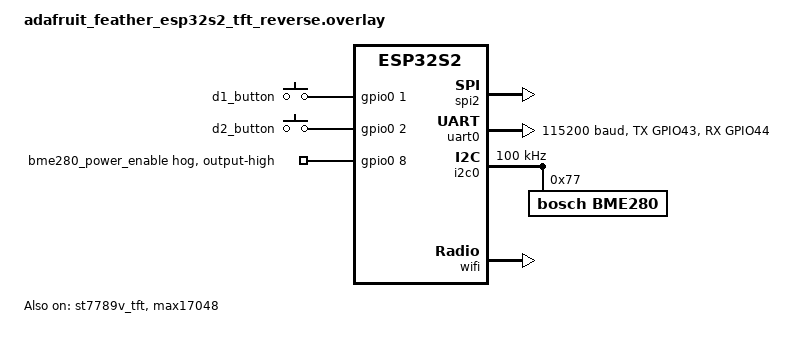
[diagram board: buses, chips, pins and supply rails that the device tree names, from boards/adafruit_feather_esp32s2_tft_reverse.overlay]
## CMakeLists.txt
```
# SPDX-License-Identifier: Apache-2.0

cmake_minimum_required(VERSION 3.20.0)

find_package(Zephyr REQUIRED HINTS $ENV{ZEPHYR_BASE})
project(WeatherSensor)

# Use simple display test (comment out for LVGL version)
# target_sources(app PRIVATE src/main_simple.cpp)

# Use LVGL version
target_sources(app PRIVATE
	src/main.cpp
	src/battery.cpp
	src/bme280.cpp
	src/display.cpp
	src/influx.cpp
	src/provisioning.cpp
	src/sntp_sync.cpp
	src/ui.cpp
	src/wifi_sta.cpp
)

target_include_directories(app PRIVATE inc)

# -fpermissive needed for Zephyr networking headers (C-style void* casts)
# when compiled as C++ code.
target_compile_options(app PRIVATE -fpermissive)
```

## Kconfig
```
# Application-specific Kconfig options for WeatherSensor

mainmenu "WeatherSensor application options"

source "Kconfig.zephyr"

menu "WeatherSensor settings"

config WEATHER_WIFI_TEST_SSID
	string "Test WiFi SSID (Step 3 only — temporary)"
	default ""
	help
	  Optional. If set, the application will try to connect to this
	  SSID at boot using the password below. Intended for bring-up
	  testing only — will be replaced by NVS-stored credentials once
	  SoftAP provisioning is implemented.

config WEATHER_WIFI_TEST_PSK
	string "Test WiFi password (Step 3 only — temporary)"
	default ""
	help
	  Password for the test SSID above. Leave empty for open networks.

config WEATHER_INFLUX_HOST
	string "InfluxDB host (LAN IP or hostname)"
	default "192.168.1.114"
	help
	  Plain HTTP InfluxDB 1.x server reachable on the local network.
	  No TLS, no auth — meant for a LAN-only deployment.

config WEATHER_INFLUX_PORT
	int "InfluxDB TCP port"
	default 8086

config WEATHER_INFLUX_DB
	string "InfluxDB database name"
	default "weather"

config WEATHER_DEVICE_ID
	string "Device identifier (used as the 'device' tag)"
	default "ws01"
	help
	  Tag attached to each Influx measurement so multiple sensors can
	  coexist in the same database without schema changes.

config WEATHER_TEMP_OFFSET_CDEG
	int "Temperature offset in centi-degrees Celsius (signed)"
	default 0
	help
	  Subtracted from each raw BME280 reading before display and
	  uplink, to compensate for residual board-conduction self-
	  heating that remains after switching to forced mode.

	  Centi-degrees C so a value of 75 means subtract 0.75 deg C.
	  Negative values add to the reading. Default 0 — measure
	  against a reference thermometer first, then dial in.

endmenu
```

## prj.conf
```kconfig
# SPDX-License-Identifier: Apache-2.0

# C++ Support
CONFIG_CPP=y
CONFIG_STD_CPP20=y
CONFIG_REQUIRES_FULL_LIBCPP=y

# GPIO for LED debugging
CONFIG_GPIO=y

# I2C bus for sensors
CONFIG_I2C=y

# Expose the I2C0 per-device pinctrl config to the application so
# sensors_read() can re-apply PINCTRL_STATE_DEFAULT after temporarily
# overriding SDA/SCL as plain GPIO outputs driven LOW (to block
# BME280 ESD-diode backfeed while its Vcc rail is cut). The DEFAULT
# reapply re-muxes the pads back to the I2C peripheral with pull-ups.
# PINCTRL_DYNAMIC selects the underlying PINCTRL_NON_STATIC symbol
# that PINCTRL_DT_DEV_CONFIG_DECLARE/_GET need (it has no user prompt).
CONFIG_PINCTRL_DYNAMIC=y

# Sensor subsystem
CONFIG_SENSOR=y
CONFIG_BME280=y

# BME280 weather-station preset (per Bosch datasheet §3.5.1):
# forced one-shot mode with 1x oversampling on all channels and the
# IIR filter off. The default normal mode self-clocks at 1 Hz with
# heavy oversampling, which heats the die enough to bias temperature
# readings up by 1-2 deg C. Forced mode lets the chip sleep between
# our minute-spaced reads.
CONFIG_BME280_MODE_FORCED=y
CONFIG_BME280_TEMP_OVER_1X=y
CONFIG_BME280_PRESS_OVER_1X=y
CONFIG_BME280_HUMIDITY_OVER_1X=y
CONFIG_BME280_FILTER_OFF=y

# Console and Logging via UART
# NOTE: ESP32-S2 does not have USB CDC support in Zephyr yet.
# Console output requires external USB-to-UART adapter connected to:
#   GPIO43 (DB pin) = UART0 TX - connects to ESP-Prog TXD0 (pin 3)
#   GPIO44 = UART0 RX - connects to ESP-Prog RXD0 (pin 5)
# IMPORTANT: GPIO1/GPIO2 are BUTTONS on Reverse board, NOT UART!
# The USB-C port only provides power and flashing.
CONFIG_UART_CONSOLE=y
CONFIG_CONSOLE=y
CONFIG_LOG=y
CONFIG_LOG_MODE_IMMEDIATE=y
CONFIG_LOG_BACKEND_UART=y
CONFIG_PRINTK=y
CONFIG_EARLY_CONSOLE=y

# Float formatting for sensor values (required for printf/snprintf with %f)
CONFIG_PICOLIBC_IO_FLOAT=y

# Display Support
CONFIG_DISPLAY=y
CONFIG_DISPLAY_LOG_LEVEL_INF=y

# Power Management - DISABLED
# Testing showed that PM subsystem causes boot crashes on this board.
# We use manual GPIO control for display power (GPIO7) and backlight (GPIO45).
# This is a known limitation - the power domain subsystem doesn't work
# reliably with the ESP32-S2 HAL in Zephyr 4.2.
# CONFIG_PM=y
# CONFIG_PM_DEVICE=y
# CONFIG_PM_DEVICE_RUNTIME=y
# CONFIG_POWER_DOMAIN=y
# CONFIG_POWER_DOMAIN_GPIO=y

# CPU clock — overridden via DT in this app's board overlay (see
# boards/adafruit_feather_esp32s2_tft_reverse.overlay /cpus/cpu@0
# clock-frequency property). Drops from upstream's 240 MHz to 160 MHz
# to cut active-current draw. The app is I/O-bound — BME280 I2C, single-
# line LVGL repaint, brief HTTP POST — and CPU-bound time per minute
# is well under a second, so the wall-clock cost is invisible.
# 160 MHz is one of the four values the Zephyr-side esp32 module
# Kconfig recognizes (96 / 120 / 160 / 240); we stay inside that set.

# Input subsystem for button handling (D0/D1/D2)
# Use threaded mode (default) — synchronous mode runs callbacks in the
# gpio-keys workqueue context, which has insufficient stack for calling
# WiFi/net_mgmt APIs.
CONFIG_INPUT=y
CONFIG_INPUT_GPIO_KEYS=y
CONFIG_INPUT_EVENT_DUMP=y
CONFIG_SYSTEM_WORKQUEUE_STACK_SIZE=4096

# Fuel gauge for battery monitoring
CONFIG_FUEL_GAUGE=y
CONFIG_MAX17048=y

# LVGL Graphics Library
CONFIG_LVGL=y
CONFIG_LV_Z_MEM_POOL_SIZE=32768
CONFIG_LV_COLOR_DEPTH_16=y
CONFIG_LV_FONT_MONTSERRAT_14=y
CONFIG_LV_FONT_MONTSERRAT_16=y
CONFIG_LV_FONT_MONTSERRAT_20=y
CONFIG_LV_FONT_MONTSERRAT_32=y

# Heap for LVGL, WiFi stack, and dynamic allocation.
# WiFi + networking stack requires ~55 KB; bumped from 32 KB to match
# Zephyr's auto-calculated minimum (and quiet the CMake warning).
CONFIG_HEAP_MEM_POOL_SIZE=65536

# Main stack size
CONFIG_MAIN_STACK_SIZE=8192

# WiFi
# We switch at runtime between STA (normal operation) and AP (provisioning).
# On ESP32-S2 (single radio) the APSTA hybrid mode doesn't broadcast the AP
# beacon reliably, so we DON'T enable CONFIG_ESP32_WIFI_AP_STA_MODE. Instead
# the driver uses pure AP mode during provisioning and switches back to STA
# afterwards.
CONFIG_WIFI=y
CONFIG_NETWORKING=y

# DHCP server for SoftAP clients (Step 6)
CONFIG_NET_IPV4=y
CONFIG_NET_DHCPV4=y
CONFIG_NET_DHCPV4_SERVER=y
CONFIG_NET_DHCPV4_SERVER_ADDR_COUNT=4

# BSD sockets for the provisioning HTTP server
CONFIG_NET_TCP=y
CONFIG_NET_SOCKETS=y
CONFIG_POSIX_API=y

# SNTP for periodic wall-clock sync after WiFi connects.
# DNS lets sntp_simple() resolve "pool.ntp.org" directly.
CONFIG_NET_UDP=y
CONFIG_SNTP=y
CONFIG_DNS_RESOLVER=y

# NVS for WiFi credential persistence (Step 2)
CONFIG_FLASH=y
CONFIG_FLASH_PAGE_LAYOUT=y
CONFIG_NVS=y

# System clock and timing
CONFIG_SYS_CLOCK_TICKS_PER_SEC=1000

# sys_reboot() — used after saving WiFi credentials via SoftAP provisioning
# so the new credentials take effect on a clean cold boot rather than via
# a fragile runtime AP→STA mode transition.
CONFIG_REBOOT=y
```

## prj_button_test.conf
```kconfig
# Minimal config for button testing
CONFIG_GPIO=y
CONFIG_LOG=y
CONFIG_LOG_MODE_IMMEDIATE=y
CONFIG_LOG_BACKEND_UART=y
CONFIG_PRINTK=y
CONFIG_UART_CONSOLE=y
CONFIG_CONSOLE=y
CONFIG_EARLY_CONSOLE=y

# Input subsystem
CONFIG_INPUT=y
CONFIG_INPUT_GPIO_KEYS=y
CONFIG_INPUT_MODE_SYNCHRONOUS=y
CONFIG_INPUT_EVENT_DUMP=y
CONFIG_INPUT_LOG_LEVEL_DBG=y

# Increase stack sizes to prevent overflow during button callbacks
CONFIG_SYSTEM_WORKQUEUE_STACK_SIZE=4096
CONFIG_MAIN_STACK_SIZE=4096
```

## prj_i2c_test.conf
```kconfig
# Minimal config for I2C diagnostic

# C++ support
CONFIG_CPP=y
CONFIG_STD_CPP20=y
CONFIG_REQUIRES_FULL_LIBCPP=y

# GPIO (for I2C power enable on GPIO7)
CONFIG_GPIO=y

# I2C
CONFIG_I2C=y

# Console/logging via UART0 (GPIO43/44 via ESP-Prog)
CONFIG_UART_CONSOLE=y
CONFIG_CONSOLE=y
CONFIG_LOG=y
CONFIG_LOG_MODE_IMMEDIATE=y
CONFIG_LOG_BACKEND_UART=y
CONFIG_PRINTK=y
CONFIG_EARLY_CONSOLE=y
```

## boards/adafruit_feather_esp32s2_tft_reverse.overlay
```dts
/*
 * Copyright (c) 2026 Lukasz Ronka
 * SPDX-License-Identifier: Apache-2.0
 *
 * Overlay for ESP32-S2 Reverse TFT Feather
 * Uses UART0 on GPIO43/44 (DB pin) for console instead of GPIO1/2
 */

/*
 * Drop CPU from 240 MHz to 160 MHz to cut active-current draw. The
 * Zephyr-side esp32 module derives CONFIG_ESP_DEFAULT_CPU_FREQ_MHZ
 * from this DT property. App is I/O-bound so the wall-clock impact
 * is negligible.
 */
&cpu0 {
	clock-frequency = <DT_FREQ_M(160)>;
};

/* Enable ST7789V TFT Display */
&st7789v_tft {
	status = "okay";
};

/* Enable SPI2 for display */
&spi2 {
	status = "okay";
};

/*
 * UART Configuration for Reverse Board:
 * GPIO43 (DB pin) = UART0 TX - connects to ESP-Prog TXD0
 * GPIO44 = UART0 RX - connects to ESP-Prog RXD0 (if needed)
 *
 * Note: GPIO1 and GPIO2 are buttons on Reverse board, not UART!
 */
&uart0 {
	status = "okay";
	current-speed = <115200>;
	pinctrl-0 = <&uart0_default>;
	pinctrl-names = "default";
};

/* Override console to use UART0 instead of UART1 */
/ {
	chosen {
		zephyr,console = &uart0;
		zephyr,shell-uart = &uart0;
	};
};

/* Configure UART0 pins */
&pinctrl {
	uart0_default: uart0_default {
		group1 {
			pinmux = <UART0_TX_GPIO43>;
			output-high;
		};
		group2 {
			pinmux = <UART0_RX_GPIO44>;
			bias-pull-up;
		};
	};

	/* Override I2C0 pins to enable internal pull-ups */
	i2c0_default: i2c0_default {
		group1 {
			pinmux = <I2C0_SDA_GPIO3>,
				 <I2C0_SCL_GPIO4>;
			drive-open-drain;
			bias-pull-up;  /* Enable internal pull-up resistors */
		};
	};
};

/* Enable I2C for sensor support */
&i2c0 {
	status = "okay";
	clock-frequency = <I2C_BITRATE_STANDARD>;

	/* BME280: Temperature/Humidity/Pressure at I2C address 0x77 */
	bme280@77 {
		compatible = "bosch,bme280";
		reg = <0x77>;
		status = "okay";
	};
};

/* Enable MAX17048 fuel gauge for battery monitoring */
&max17048 {
	status = "okay";
};

/* Enable WiFi driver (Step 1) */
&wifi {
	status = "okay";
};

/*
 * Fix D1/D2 button polarity.
 * The upstream Zephyr board DTS incorrectly defines D1/D2 as GPIO_PULL_UP | GPIO_ACTIVE_LOW,
 * but per Adafruit docs these buttons are pulled LOW by default and go HIGH when pressed.
 * See: https://learn.adafruit.com/esp32-s2-reverse-tft-feather/pinouts
 */
/ {
	gpio_keys {
		/* 100 ms filter at the gpio-keys driver level. Still below the
		 * ~150 ms human-press threshold so real presses pass through
		 * unnoticeably late, but doubled from the original 50 ms after
		 * a second phantom D2 press slipped through. The app also
		 * applies an additional 80 ms hold filter — see button_input_cb. */
		debounce-interval-ms = <100>;

		d1_button: d1_button {
			gpios = <&gpio0 1 GPIO_ACTIVE_HIGH>;
		};
		d2_button: d2_button {
			gpios = <&gpio0 2 GPIO_ACTIVE_HIGH>;
		};
	};
};

/*
 * Power the external BME280 module's Vcc from GPIO8 (silk: A5).
 * Hogged HIGH at boot so the Zephyr BME280 driver's POST_KERNEL init —
 * which talks to the chip over I2C to read calibration coefficients —
 * sees a powered sensor. Once boot is done, the application toggles
 * this pin per-read in sensors_read() to keep the chip cold between
 * minute-spaced samples.
 */
&gpio0 {
	bme280_power_enable {
		gpio-hog;
		gpios = <8 GPIO_ACTIVE_HIGH>;
		output-high;
	};
};
```

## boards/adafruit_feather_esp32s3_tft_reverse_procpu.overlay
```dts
/*
 * Copyright (c) 2026 Lukasz Ronka
 * SPDX-License-Identifier: Apache-2.0
 *
 * Overlay for ESP32-S3 Reverse TFT Feather.
 *
 * Mirrors the ESP32-S2 overlay with these differences:
 *   - Console stays on USB-CDC (upstream default — &usb_serial). No
 *     ESP-Prog needed; logs come out the USB-C port.
 *   - Three buttons (button0/1/2) instead of two (d1/d2). The upstream
 *     DTS sets all three to GPIO_PULL_UP | GPIO_ACTIVE_LOW, but the
 *     Reverse-line hardware actually wires them the opposite way (pulled
 *     LOW, go HIGH on press) — same as on -S2.
 *   - MAX17048 is enabled in the board DTS by default; we don't need
 *     to repeat the override here.
 *   - i2c_reg power domain is already declared in the board DTS for
 *     STEMMA + display Vcc, but PM is disabled in prj.conf so the
 *     power-domain-gpio driver isn't actually doing anything. Our
 *     display.cpp toggles GPIO7 by hand.
 *
 * Everything I2C-side (GPIO3/4 SDA/SCL, internal pull-up override,
 * BME280 child node) and the GPIO8 hog for the external BME280 Vcc
 * transfer verbatim from -S2.
 */

/*
 * Drop CPU from 240 MHz to 160 MHz. ESP32-S3 supports the same set of
 * CPU frequencies as -S2 (240 / 160 / 80 / 40 / 2 MHz); the Zephyr-side
 * esp32 module Kconfig recognizes 96 / 120 / 160 / 240 so 160 is the
 * floor that doesn't trip the clock-tick scaling math.
 */
&cpu0 {
	clock-frequency = <DT_FREQ_M(160)>;
};

/* Enable ST7789V TFT Display (upstream leaves it status = "disabled") */
&st7789v_tft {
	status = "okay";
};

/*
 * Override console from &usb_serial → &uart0 so ESP-Prog (wired to
 * GPIO43/44 = DB pin, same as -S2) captures every log line from the
 * very first Zephyr boot message. USB-SERIAL-JTAG works but enumerates
 * a few hundred ms after firmware starts — early panics get lost.
 *
 * UART0 on -S3 uses GPIO43/44 same as -S2, so the ESP-Prog wiring is
 * identical between boards. Trade-off: the USB-C native console goes
 * silent (you can flip the priority by reverting this block).
 */
/ {
	chosen {
		zephyr,console = &uart0;
		zephyr,shell-uart = &uart0;
	};
};

/* Override I2C0 pinctrl to enable internal pull-ups (matches -S2 — the
 * upstream pinctrl declares drive-open-drain + output-high but no
 * bias-pull-up, and the BME280 module relies on these pulls). */
&pinctrl {
	i2c0_default: i2c0_default {
		group1 {
			pinmux = <I2C0_SDA_GPIO3>,
				 <I2C0_SCL_GPIO4>;
			drive-open-drain;
			bias-pull-up;
		};
	};
};

/* Add the BME280 child to the upstream-enabled I2C0 node. */
&i2c0 {
	bme280@77 {
		compatible = "bosch,bme280";
		reg = <0x77>;
		status = "okay";
	};
};

/* Enable WiFi driver (still WiFi+Influx in Phase 2 — BLE swap is Phase 3). */
&wifi {
	status = "okay";
};

/*
 * Fix button polarity on D1 and D2. The Reverse-line hardware wires
 * D1 (GPIO1) and D2 (GPIO2) so they're pulled LOW by default and go
 * HIGH on press, which is opposite to the upstream DTS's
 * GPIO_PULL_UP | GPIO_ACTIVE_LOW. Same fix as -S2.
 *
 * D0 is different: GPIO0 is the ESP32-S3 chip's boot-mode strap pin
 * with an external pull-up that the bootloader relies on. The
 * D0 user-button hangs off that strap, so it really IS pulled HIGH
 * by default and goes LOW when pressed — the upstream
 * GPIO_PULL_UP | GPIO_ACTIVE_LOW is correct for D0. Don't override.
 *
 * Also override zephyr,code on D2 from INPUT_KEY_2 → INPUT_KEY_3 so
 * the application's switch (originally written against -S2's
 * upstream code mapping where D2 = INPUT_KEY_3) sees the same codes
 * on both boards.
 *
 * 100 ms debounce at the gpio-keys driver level — matches -S2's
 * "second phantom press slipped through after 50 ms" tuning. The app
 * adds another 80 ms hold filter in button_input_cb on top.
 */
/ {
	gpio_keys {
		debounce-interval-ms = <100>;

		button1: button_1 {
			gpios = <&gpio0 1 GPIO_ACTIVE_HIGH>;
		};
		button2: button_2 {
			gpios = <&gpio0 2 GPIO_ACTIVE_HIGH>;
			zephyr,code = <INPUT_KEY_3>;
		};
	};
};

/*
 * Power the external BME280 module's Vcc from GPIO8 (silk: A5).
 * Hogged HIGH at boot so the Zephyr BME280 driver's POST_KERNEL init
 * sees a powered sensor. Once boot is done, the application toggles
 * this pin per-read in sensors_read() to keep the chip cold between
 * minute-spaced samples — same dance as -S2.
 */
&gpio0 {
	bme280_power_enable {
		gpio-hog;
		gpios = <8 GPIO_ACTIVE_HIGH>;
		output-high;
	};
};
```

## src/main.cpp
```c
/*
 * Copyright (c) 2026 Lukasz Ronka
 * SPDX-License-Identifier: Apache-2.0
 */

#include <zephyr/kernel.h>
#include <zephyr/logging/log.h>
#include <zephyr/sys/reboot.h>

#include <stdint.h>
#include <stdlib.h>
#include <string.h>
#include <time.h>

#include "battery.h"
#include "bme280.h"
#include "display.h"
#include "influx.h"
#include "provisioning.h"
#include "sntp_sync.h"
#include "ui.h"
#include "wifi_sta.h"

LOG_MODULE_REGISTER(weather_sensor, LOG_LEVEL_INF);

static uint32_t seconds_counter = 0;

/* Piggy-back hook for bme280_read: refresh the battery state-of-charge
 * and its status-bar symbol while the I2C0 bus is still alive. Keeps
 * the MAX17048 off the bus during the windows when bme280_read parks
 * SDA/SCL low. */
static void refresh_battery(void)
{
	battery_read();
	ui_update_battery(battery_get_soc());
}

/* Returns true at most once per wall-clock minute, on the boundary.
 *
 * After SNTP has set the clock we use tm_min from local time; before
 * that we fall back to an uptime-minute boundary so the display is
 * never frozen. Accepts tm_sec == 0 or 1 to absorb scheduler jitter
 * from the 1 s main-loop tick; the last-minute dedupe ensures only
 * one fire per minute regardless. */
static bool minute_boundary_fired(void)
{
	static int last_minute_fired = -1;
	int minute_now;

	if (sntp_is_synced()) {
		struct timespec ts;
		struct tm local;
		clock_gettime(CLOCK_REALTIME, &ts);
		localtime_r(&ts.tv_sec, &local);
		if (local.tm_sec > 1) {
			return false;
		}
		minute_now = local.tm_min;
	} else {
		uint32_t up_s = (uint32_t)(k_uptime_get() / 1000);
		if (up_s % 60 != 0) {
			return false;
		}
		minute_now = (int)((up_s / 60) % 60);
	}

	if (minute_now == last_minute_fired) {
		return false;
	}
	last_minute_fired = minute_now;
	return true;
}

int main(void)
{
	int ret;

	LOG_INF("WeatherSensor starting...");
	LOG_INF("Board: %s", CONFIG_BOARD);

	/* Pin local time to Europe/Warsaw with DST. POSIX TZ string:
	 *   CET-1CEST,M3.5.0,M10.5.0/3
	 * = standard CET (UTC+1), DST CEST (UTC+2), spring-forward last
	 * Sunday of March, fall-back last Sunday of October at 03:00.
	 * After this, picolibc's localtime_r() handles DST automatically. */
	setenv("TZ", "CET-1CEST,M3.5.0,M10.5.0/3", 1);
	tzset();

	/* CRITICAL INITIALIZATION SEQUENCE:
	 * 1. Enable display power (GPIO7) first
	 * 2. Wait for power rail to stabilize
	 * 3. Initialize display device
	 * 4. Enable backlight (GPIO45)
	 */
	ret = display_power_init();
	if (ret < 0) {
		LOG_ERR("Failed to initialize display power: %d", ret);
		return ret;
	}

	ret = display_init();
	if (ret < 0) {
		LOG_ERR("Failed to initialize display: %d", ret);
		return ret;
	}

	ret = backlight_init();
	if (ret < 0) {
		LOG_WRN("Backlight init failed (non-fatal): %d", ret);
	}

	/* Initialize sensors */
	LOG_INF("");
	LOG_INF("========================================");
	ret = bme280_init();
	static bool sensors_ok = false;
	sensors_ok = (ret == 0);
	if (!sensors_ok) {
		LOG_ERR("Sensor initialization failed: %d", ret);
		LOG_ERR("Continuing without sensors...");
	}
	LOG_INF("========================================");
	LOG_INF("");

	/* Hand the BME280 Vcc pin from boot-time gpio-hog control to
	 * runtime control. bme280_read now owns it and toggles it per
	 * minute-tick. */
	bme280_pin_release_to_runtime();

	/* Initialize fuel gauge (after display power, since GPIO7 powers I2C bus) */
	ret = battery_init();
	if (ret < 0) {
		LOG_WRN("Fuel gauge not available - using mocked battery");
	}

	/* Initialize LVGL multi-screen UI */
	ui_init();

	/* Initial sensor read if sensors available. Piggy-back the
	 * battery poll so it gets the I2C bus while it's still up. */
	if (sensors_ok) {
		LOG_INF("Performing initial sensor read...");
		bme280_read(refresh_battery);
		ui_update_sensor_display();
	} else {
		/* No BME280 — battery still wants to be read. The bus is
		 * idle (no park-low cycle without bme280_read), so it's
		 * safe to talk to MAX17048 directly. */
		refresh_battery();
	}

	/* Drop the display dark by default. The chip / LVGL got fully
	 * bootstrapped above so the screen is correctly populated;
	 * display_sleep just cuts backlight + GPIO7. Any button press
	 * wakes it for 30 s via ui's input handler. */
	display_sleep();

	/* Mount NVS + register net_mgmt callback, then try to connect.
	 * Priority: stored NVS credentials > Kconfig test credentials.
	 * If Kconfig credentials connect successfully, they're saved to NVS
	 * for next boot — so the next reflash won't need the Kconfig override. */
	if (wifi_sta_init() == 0) {
		char ssid[33] = {};
		char psk[65] = {};
		if (wifi_load_credentials(ssid, sizeof(ssid), psk, sizeof(psk))) {
			wifi_connect(ssid, psk);
		} else if (strlen(CONFIG_WEATHER_WIFI_TEST_SSID) > 0) {
			LOG_INF("Using Kconfig test credentials for WiFi");
			wifi_arm_pending_save(CONFIG_WEATHER_WIFI_TEST_SSID,
					      CONFIG_WEATHER_WIFI_TEST_PSK);
			wifi_connect(CONFIG_WEATHER_WIFI_TEST_SSID,
				     CONFIG_WEATHER_WIFI_TEST_PSK);
		} else {
			LOG_INF("No WiFi credentials stored — provisioning needed");
		}
	}

	LOG_INF("Initialization complete. Entering main loop...");

	while (1) {
		/* Screen navigation from button presses. Module handles the
		 * LVGL screen swap internally; we ignore the return. */
		(void)ui_take_pending_navigate();

		/* Handle pending provisioning request from D1 */
		if (provisioning_take_pending_request()) {
			provisioning_start();
		}

		/* After AP_ENABLE_RESULT fires: assign IP and start DHCP */
		if (wifi_take_pending_ap_setup()) {
			provisioning_configure_ap_network();
		}

		/* Credentials received via HTTP form: persist to NVS and
		 * reboot. The new credentials take effect on the clean cold
		 * boot, avoiding fragile runtime AP→STA driver transitions. */
		char apply_ssid[33];
		char apply_psk[65];
		if (provisioning_take_pending_reboot(apply_ssid, sizeof(apply_ssid),
						     apply_psk, sizeof(apply_psk))) {
			LOG_INF("Saving credentials and rebooting (SSID: %s)",
				apply_ssid);
			wifi_save_credentials(apply_ssid, apply_psk);
			/* Let the HTTP response flush to the browser. */
			k_msleep(1000);
			sys_reboot(SYS_REBOOT_COLD);
			/* unreachable */
		}

		/* WiFi status-bar icon repaint */
		if (wifi_take_pending_icon_update()) {
			ui_update_wifi_icon(wifi_is_connected());
		}

		/* Enable WiFi modem-sleep after the connect event lands. The
		 * event handler can't issue net_mgmt requests itself, so the
		 * flag is set there and the actual call happens here. */
		if (wifi_take_pending_ps_enable()) {
			wifi_enable_power_save();
		}

		/* New SNTP drift sample arrived — repaint the drift screen.
		 * Cheap; LVGL only redraws the active screen. */
		if (sntp_take_pending_drift_update()) {
			ui_update_drift_display();
		}

		/* SNTP wall-clock sync: first sync as soon as WiFi is up,
		 * then every hour after a successful sync. sntp_sync_now()
		 * blocks for up to a few seconds — fine at this cadence. */
		if (sntp_take_pending_initial_sync()) {
			sntp_sync_now();
		} else if (wifi_is_connected() && sntp_should_resync()) {
			sntp_sync_now();
		}

		/* Once per minute, aligned to the wall-clock minute start
		 * (or the uptime-minute start before SNTP has synced). One
		 * trigger keeps the sensor read and the visible HH:MM
		 * transition phase-locked. */
		if (minute_boundary_fired()) {
			ui_update_time_display();
			if (sensors_ok) {
				LOG_INF("======== PERIODIC SENSOR READ (t=%us) ========",
					seconds_counter);
				/* Piggy-back the battery read inside the
				 * bme280 bus-up window so it doesn't try to
				 * talk to MAX17048 while SDA/SCL are parked. */
				bme280_read(refresh_battery);
				ui_update_sensor_display();
				/* Queue this reading for the InfluxDB uplink.
				 * Only when SNTP has set the wall clock — every
				 * row carries a real timestamp, no server-side
				 * "receive time" mess. */
				if (sntp_is_synced()) {
					influx_capture_sample();
				}
			}
		}

		/* Drain pending Influx samples — cheap when the buffer is
		 * empty, retries from the oldest unsent reading on failure. */
		influx_drain(wifi_is_connected());

		/* Log status every 30 seconds */
		if (seconds_counter % 30 == 0) {
			LOG_INF("System running. Uptime: %u seconds, Screen: %d",
				seconds_counter, ui_current_screen());
		}

		/* Process LVGL tasks */
		ui_tick();

		/* Sleep for 1 second */
		k_msleep(1000);
		seconds_counter++;
		sntp_tick();
	}

	return 0;
}
```

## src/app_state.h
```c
/*
 * Copyright (c) 2026 Lukasz Ronka
 * SPDX-License-Identifier: Apache-2.0
 *
 * Shared application state.
 *
 * Cross-module data the orchestrator hands around. Each module owns
 * its own hardware handles and module-private bookkeeping as file-
 * scope statics; only state that's *actually* read or written across
 * module boundaries lives here.
 *
 * Single source of truth: main.cpp owns one `static app_state_t g_app`
 * and passes a pointer into module init/tick calls that need it.
 */

#ifndef WEATHER_SENSOR_APP_STATE_H_
#define WEATHER_SENSOR_APP_STATE_H_

#include <stdbool.h>
#include <stdint.h>
#include <time.h>

#define DRIFT_HISTORY_SIZE 8

#ifdef __cplusplus
extern "C" {
#endif

/* ------------------------------------------------------------------ */
/* Sensor snapshot                                                    */
/* ------------------------------------------------------------------ */

/* Latest readings written by bme280_read() and battery_read(), read by
 * ui_update_* and influx_capture_sample. The temperature value here is
 * already offset-corrected (CONFIG_WEATHER_TEMP_OFFSET_CDEG applied);
 * raw chip output stays inside bme280.cpp. */
typedef struct {
	float   temperature;       /* deg C, after CDEG offset */
	float   humidity;          /* %RH */
	float   pressure;          /* hPa */
	uint8_t battery_soc;       /* state of charge, 0-100. Valid iff
	                              battery_available is true. */
	bool    battery_available; /* fuel gauge responded at last read */
} sensor_data_t;

/* ------------------------------------------------------------------ */
/* WiFi station / provisioning state                                  */
/* ------------------------------------------------------------------ */

/* connected: set/cleared by wifi_mgmt_event_handler.
 * pending_initial_sync: raised on first connect, consumed by main loop
 *     to kick the very first SNTP fetch.
 * pending_save_credentials + pending_save_ssid/psk: handoff from the
 *     provisioning HTTP thread to the main loop, which performs the
 *     NVS write (the HTTP thread's stack can't take a flash op).
 * pending_ap_network_setup: raised by provisioning_start so the main
 *     loop can configure the AP's IPv4 address + DHCP pool (net_mgmt
 *     calls must not run in a network event callback). */
typedef struct {
	bool connected;
	bool pending_initial_sync;
	bool pending_save_credentials;
	char pending_save_ssid[33];
	char pending_save_psk[65];
	bool pending_ap_network_setup;
} wifi_state_t;

/* ------------------------------------------------------------------ */
/* Time / SNTP drift state                                            */
/* ------------------------------------------------------------------ */

typedef struct {
	int64_t  drift_ms;     /* signed: corrected - pre-correction */
	uint32_t interval_s;   /* seconds since the previous sync */
	struct   tm local_tm;  /* local wall clock at sync moment */
	bool     valid;        /* false slots are skipped on render */
} drift_entry_t;

/* synced: set true on the first successful sntp_sync_time call.
 * seconds_since_last_sync: incremented by the main loop's 1 Hz tick.
 * pending_initial_sync: WiFi event raises this; main loop consumes.
 * history / head: ring buffer of recent drifts (drift_history_size
 *     entries) for the drift screen.
 * pending_drift_screen_update: raised when a new drift sample lands,
 *     consumed by the UI redraw. */
typedef struct {
	bool          synced;
	uint32_t      seconds_since_last_sync;
	bool          pending_initial_sync;
	drift_entry_t history[DRIFT_HISTORY_SIZE];
	int           head;
	bool          pending_drift_screen_update;
} time_state_t;

/* ------------------------------------------------------------------ */
/* Aggregate                                                          */
/* ------------------------------------------------------------------ */

typedef struct {
	sensor_data_t sensors;
	wifi_state_t  wifi;
	time_state_t  time;
} app_state_t;

#ifdef __cplusplus
}
#endif

#endif /* WEATHER_SENSOR_APP_STATE_H_ */
```

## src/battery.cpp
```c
/*
 * Copyright (c) 2026 Lukasz Ronka
 * SPDX-License-Identifier: Apache-2.0
 */

#include "battery.h"

#include <zephyr/device.h>
#include <zephyr/drivers/fuel_gauge.h>
#include <zephyr/logging/log.h>

LOG_MODULE_REGISTER(battery, LOG_LEVEL_INF);

static const struct device *fuel_gauge_dev;
static bool battery_available = false;
static uint8_t battery_soc = 100; /* State of charge %, mocked at 100% */

int battery_init(void)
{
	fuel_gauge_dev = DEVICE_DT_GET_ONE(maxim_max17048);

	if (!device_is_ready(fuel_gauge_dev)) {
		LOG_WRN("MAX17048: not ready (will use mocked battery)");
		battery_available = false;
		return -ENODEV;
	}

	LOG_INF("MAX17048: Device ready - %s", fuel_gauge_dev->name);
	battery_available = true;
	return 0;
}

void battery_read(void)
{
	if (!battery_available) {
		return;
	}

	union fuel_gauge_prop_val val;
	int ret = fuel_gauge_get_prop(fuel_gauge_dev,
				      FUEL_GAUGE_RELATIVE_STATE_OF_CHARGE, &val);
	if (ret < 0) {
		LOG_WRN("Failed to read battery SOC: %d", ret);
		return;
	}

	battery_soc = val.relative_state_of_charge;
	LOG_INF("Battery SOC: %u%%", battery_soc);
}

bool battery_is_available(void)
{
	return battery_available;
}

uint8_t battery_get_soc(void)
{
	return battery_soc;
}
```

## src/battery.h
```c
/*
 * Copyright (c) 2026 Lukasz Ronka
 * SPDX-License-Identifier: Apache-2.0
 *
 * MAX17048 fuel gauge driver wrapper.
 *
 * Owns the device handle and the last-known state-of-charge. Non-fatal
 * if the chip isn't present: battery_is_available() returns false and
 * the rest of the system continues with no battery telemetry.
 *
 * battery_init() must run after the display power rail is up (the fuel
 * gauge shares the GPIO7-gated 3V3 line on this board).
 */

#ifndef WEATHER_SENSOR_BATTERY_H_
#define WEATHER_SENSOR_BATTERY_H_

#include <stdbool.h>
#include <stdint.h>

#ifdef __cplusplus
extern "C" {
#endif

/* Probe the fuel gauge and stash the device handle. Returns 0 if the
 * chip is ready, -ENODEV otherwise (logged at WARN, never fatal). */
int battery_init(void);

/* Read state-of-charge from the chip and cache it. No-op if the gauge
 * is unavailable. Logs the new value at INFO. */
void battery_read(void);

/* True once battery_init succeeded. Influx capture branches on this to
 * record -1 when no gauge was found. */
bool battery_is_available(void);

/* Last value cached by battery_read. Returns the mocked default
 * (100 %) until the first successful read. */
uint8_t battery_get_soc(void);

#ifdef __cplusplus
}
#endif

#endif /* WEATHER_SENSOR_BATTERY_H_ */
```

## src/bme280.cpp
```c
/*
 * Copyright (c) 2026 Lukasz Ronka
 * SPDX-License-Identifier: Apache-2.0
 */

#include "bme280.h"

#include <zephyr/device.h>
#include <zephyr/drivers/gpio.h>
#include <zephyr/drivers/i2c.h>
#include <zephyr/drivers/pinctrl.h>
#include <zephyr/drivers/sensor.h>
#include <zephyr/kernel.h>
#include <zephyr/logging/log.h>

LOG_MODULE_REGISTER(bme280, LOG_LEVEL_INF);

/* BME280 module Vcc — switched per-read to eliminate residual self-heating.
 * Wired off-board: external DFRobot Gravity module's +V lead moved from the
 * always-on 3V3 rail to the Feather's A5 pin (silk label A5 = ESP32-S2 GPIO8,
 * port 0). ~12 mA source budget, BME280 peak < 1 mA, so direct GPIO drive
 * is fine without a load switch. */
static const struct gpio_dt_spec bme280_power = {
	.port = DEVICE_DT_GET(DT_NODELABEL(gpio0)),
	.pin = 8,
	.dt_flags = GPIO_ACTIVE_HIGH,
};

/* I2C0 SDA/SCL pads (GPIO3 / GPIO4 on this board). Between minute-spaced
 * reads we re-purpose them as plain GPIO outputs pinned LOW so the BME280's
 * SDA/SCL→Vcc ESD clamp diodes cannot conduct from the bus into its
 * de-powered analog front-end. The first sensor_read() bring-up then calls
 * pinctrl_apply_state(DEFAULT) to mux them back to the I2C peripheral.
 *
 * Doing this through the GPIO API (rather than a pinctrl sleep state) is
 * deliberate: the ESP32 pinctrl driver rejects any pin entry whose pinmux
 * carries neither an input nor output signal (-ENOTSUP), and reusing the
 * I2C signal IDs in a sleep group leaves the matrix routing the bus to
 * the I2C controller, which overrides the GPIO output level. */
static const struct gpio_dt_spec i2c0_sda = {
	.port = DEVICE_DT_GET(DT_NODELABEL(gpio0)),
	.pin = 3,
	.dt_flags = GPIO_ACTIVE_HIGH,
};
static const struct gpio_dt_spec i2c0_scl = {
	.port = DEVICE_DT_GET(DT_NODELABEL(gpio0)),
	.pin = 4,
	.dt_flags = GPIO_ACTIVE_HIGH,
};

/* I2C0 pinctrl handle — used to mux SDA/SCL back to the I2C peripheral
 * after the GPIO sleep state. Requires CONFIG_PINCTRL_DYNAMIC=y (which
 * selects PINCTRL_NON_STATIC) so the I2C driver's per-instance pinctrl
 * config is reachable from application code. */
PINCTRL_DT_DEV_CONFIG_DECLARE(DT_NODELABEL(i2c0));
static const struct pinctrl_dev_config *i2c0_pinctrl =
	PINCTRL_DT_DEV_CONFIG_GET(DT_NODELABEL(i2c0));

static const struct device *bme280;

/* I2C bus the BME280 sits on — cached so bme280_read() can re-write the
 * chip's CTRL_HUM register after each power-on (the chip loses all config
 * registers when we cut Vcc, and the upstream Zephyr driver doesn't expose
 * a hook to re-init humidity oversampling per-fetch). */
static const struct device *i2c_dev;

static float temperature = 0.0f;
static float humidity = 0.0f;
static float pressure = 0.0f;

int bme280_init(void)
{
	LOG_INF("=== SENSOR INITIALIZATION START ===");

	/* I2C bus reference — used in bme280_read() to re-arm CTRL_HUM
	 * after each Vcc cycle (see comment on i2c_dev declaration). */
	i2c_dev = DEVICE_DT_GET(DT_NODELABEL(i2c0));
	if (!device_is_ready(i2c_dev)) {
		LOG_ERR("I2C0: Device not ready!");
		return -ENODEV;
	}

	/* BME280 initialization */
	LOG_INF("Looking up BME280 device...");
	bme280 = DEVICE_DT_GET_ONE(bosch_bme280);

	if (!device_is_ready(bme280)) {
		LOG_ERR("BME280: Device not ready!");
		return -ENODEV;
	}
	LOG_INF("BME280: Device ready - %s", bme280->name);

	LOG_INF("=== SENSOR INITIALIZATION COMPLETE ===");
	return 0;
}

void bme280_pin_release_to_runtime(void)
{
	/* BME280 module Vcc (GPIO8 / A5) was hogged HIGH in the DTS overlay
	 * so the driver's POST_KERNEL chip-init could talk to the sensor.
	 * Switch the pin to runtime control and drive it low — from now on
	 * bme280_read() owns the pin and power-cycles it per minute-tick. */
	gpio_pin_configure_dt(&bme280_power, GPIO_OUTPUT_INACTIVE);
}

int bme280_read(void (*while_bus_up)(void))
{
	struct sensor_value val;
	int ret;

	LOG_INF("=== SENSOR READ START ===");

	/* Power the BME280 module's Vcc rail. Datasheet specifies ~2 ms
	 * start-up time; 5 ms gives margin for the module's onboard parts
	 * (the DFRobot Gravity adds a 3V3 LDO between our GPIO and the
	 * chip). The chip lost all config registers while Vcc was off and
	 * comes up in sleep mode with everything zeroed.
	 *
	 * Order matters: bring Vcc up BEFORE re-muxing SDA/SCL to the I2C
	 * peripheral. Once the chip is at 3.3 V its ESD clamps are inert,
	 * so engaging the bus signals (and their pull-ups) is clean. */
	gpio_pin_set_dt(&bme280_power, 1);
	k_msleep(5);
	ret = pinctrl_apply_state(i2c0_pinctrl, PINCTRL_STATE_DEFAULT);
	if (ret < 0) {
		LOG_WRN("BME280: pinctrl default apply failed: %d", ret);
	}

	/* Reset the I2C controller's FSM. While SDA/SCL were pinned LOW
	 * the peripheral saw "bus busy / mid-transfer" and latches that
	 * state internally. i2c_recover_bus drives 9 clock pulses + STOP
	 * and re-initialises the controller, so the next transfer doesn't
	 * fail with -EBUSY at the i2c_ll_is_bus_busy() check. */
	ret = i2c_recover_bus(i2c_dev);
	if (ret < 0) {
		LOG_WRN("BME280: i2c_recover_bus failed: %d", ret);
	}

	/* Re-arm humidity oversampling. The upstream driver writes
	 * CTRL_HUM (0xF2) only at init; in forced mode sample_fetch
	 * touches CTRL_MEAS but not CTRL_HUM. After our Vcc cycle the
	 * chip's CTRL_HUM has reverted to 0 (humidity disabled), so we
	 * write 0x01 (oversampling x1) directly via the I2C API. */
	ret = i2c_reg_write_byte(i2c_dev, 0x77, 0xF2, 0x01);
	if (ret < 0) {
		LOG_WRN("BME280: CTRL_HUM re-arm failed: %d", ret);
	}

	/* Read BME280 */
	LOG_INF("BME280: Fetching sample...");
	ret = sensor_sample_fetch(bme280);
	if (ret < 0) {
		LOG_ERR("BME280: sample_fetch failed: %d", ret);
	} else {
		LOG_INF("BME280: Sample fetch OK");

		sensor_channel_get(bme280, SENSOR_CHAN_AMBIENT_TEMP, &val);
		/* Subtract the build-time offset (centi-deg C) to compensate
		 * for residual board-conduction self-heating left over after
		 * switching the BME280 to forced mode. */
		temperature = sensor_value_to_float(&val)
			- (float)CONFIG_WEATHER_TEMP_OFFSET_CDEG / 100.0f;
		LOG_INF("BME280: Temperature = %.2f\xC2\xB0""C (val1=%d val2=%d)",
			(double)temperature, val.val1, val.val2);

		sensor_channel_get(bme280, SENSOR_CHAN_HUMIDITY, &val);
		humidity = sensor_value_to_float(&val);
		LOG_INF("BME280: Humidity = %.2f%% (val1=%d val2=%d)",
			(double)humidity, val.val1, val.val2);

		sensor_channel_get(bme280, SENSOR_CHAN_PRESS, &val);
		pressure = sensor_value_to_float(&val) * 10.0f;  /* kPa to hPa */
		LOG_INF("BME280: Pressure = %.2f hPa (val1=%d val2=%d)",
			(double)pressure, val.val1, val.val2);
	}

	/* Piggy-back any other I2C0 traffic the caller wants to do while
	 * the bus is still alive (typically the fuel-gauge poll). Runs
	 * even on sample_fetch failure — those failures are confined to
	 * the BME280 chip, the bus itself is fine. */
	if (while_bus_up) {
		while_bus_up();
	}

	/* Park SDA/SCL at GND first, then cut Vcc. With Vcc still applied,
	 * dragging the bus lines low is at worst a malformed I2C condition
	 * the chip ignores. With the lines pinned LOW, removing Vcc leaves
	 * no path through the chip's SDA/SCL→Vcc ESD clamps, so the analog
	 * front-end can't be back-powered. Reversing the order would let
	 * the bus pull-ups keep the chip warm via diode conduction — the
	 * exact failure mode this change exists to kill.
	 *
	 * GPIO_OUTPUT_LOW reconfigures the pad as a push-pull output and
	 * latches it at 0. This re-routes the GPIO matrix away from the
	 * I2C peripheral (esp32_gpio driver calls esp_rom_gpio_matrix_out
	 * with SIG_GPIO_OUT_IDX), and the pad's internal pull-up is
	 * implicitly disabled by the GPIO_OUTPUT_LOW flag set. */
	ret = gpio_pin_configure_dt(&i2c0_sda, GPIO_OUTPUT_LOW);
	if (ret < 0) {
		LOG_WRN("BME280: SDA park-low failed: %d", ret);
	}
	ret = gpio_pin_configure_dt(&i2c0_scl, GPIO_OUTPUT_LOW);
	if (ret < 0) {
		LOG_WRN("BME280: SCL park-low failed: %d", ret);
	}
	gpio_pin_set_dt(&bme280_power, 0);

	LOG_INF("=== SENSOR READ COMPLETE ===");
	return 0;
}

float bme280_get_temperature(void)
{
	return temperature;
}

float bme280_get_humidity(void)
{
	return humidity;
}

float bme280_get_pressure(void)
{
	return pressure;
}
```

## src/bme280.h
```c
/*
 * Copyright (c) 2026 Lukasz Ronka
 * SPDX-License-Identifier: Apache-2.0
 *
 * BME280 environmental sensor — power-cycled per minute-tick read.
 *
 * Wraps the upstream Zephyr bosch,bme280 driver plus the surrounding
 * dance needed to keep the chip cold between reads:
 *
 *   1. Vcc (A5 / GPIO8) goes low between samples.
 *   2. SDA / SCL get re-muxed off the I2C peripheral and pinned to
 *      GND so the chip's ESD clamps cannot back-feed its internal
 *      rail through the bus pull-ups.
 *   3. On the next read, the bus is re-muxed to the I2C peripheral,
 *      i2c_recover_bus clears the controller's stale "bus busy"
 *      latch, CTRL_HUM is re-armed (the chip lost it with Vcc), and
 *      forced-mode sample_fetch runs.
 *
 * Why CONFIG_BME280_MODE_FORCED + 1× oversampling + IIR off (the
 * "weather-station" preset) and why all of the above lives here — see
 * the original commits that introduced this code. The lifecycle is:
 *
 *   bme280_init()                  -- in main(), early
 *   bme280_pin_release_to_runtime() -- in main(), after init done
 *   bme280_read()                  -- per minute-tick, forever
 */

#ifndef WEATHER_SENSOR_BME280_H_
#define WEATHER_SENSOR_BME280_H_

#ifdef __cplusplus
extern "C" {
#endif

/* Probe the BME280 and the underlying I2C bus. Vcc is assumed already
 * applied by the gpio-hog in the DTS overlay so the bosch_bme280
 * driver's POST_KERNEL init could read the chip's calibration NVM. */
int bme280_init(void);

/* Hand the Vcc pin from boot-time gpio-hog control to runtime control,
 * leaving it driven LOW. Call once after bme280_init returns, before
 * the main loop starts ticking. From here on, bme280_read owns the pin
 * and toggles it per read. */
void bme280_pin_release_to_runtime(void);

/* Full minute-tick read: power up, recover bus, re-arm CTRL_HUM,
 * forced-mode sample_fetch, optionally run a piggy-back callback
 * while the bus is still alive, then park lines LOW, power down.
 *
 * The `while_bus_up` hook exists for other I2C0 devices (battery
 * fuel gauge etc.) so they get a brief window with a non-parked bus
 * without each owning their own wake/park sequence. Pass NULL when
 * there's no piggy-back work.
 *
 * Returns 0 even if the sample_fetch errored (so the main loop keeps
 * ticking); sub-step failures are LOG_WRN/LOG_ERR. */
int bme280_read(void (*while_bus_up)(void));

/* Most-recent readings cached by bme280_read. Temperature has the
 * CONFIG_WEATHER_TEMP_OFFSET_CDEG offset already applied; pressure is
 * in hPa (the driver returns kPa and bme280_read scales x10). */
float bme280_get_temperature(void);
float bme280_get_humidity(void);
float bme280_get_pressure(void);

#ifdef __cplusplus
}
#endif

#endif /* WEATHER_SENSOR_BME280_H_ */
```

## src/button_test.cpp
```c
/*
 * Minimal button test for ESP32-S2 Reverse TFT
 * Tests D0 (GPIO0), D1 (GPIO1), D2 (GPIO2) via:
 *   1. Zephyr input subsystem (interrupt-based)
 *   2. Direct GPIO polling (fallback check)
 */

#include <zephyr/kernel.h>
#include <zephyr/device.h>
#include <zephyr/drivers/gpio.h>
#include <zephyr/input/input.h>
#include <zephyr/logging/log.h>

LOG_MODULE_REGISTER(button_test, LOG_LEVEL_INF);

/* Direct GPIO specs for polling test */
static const struct gpio_dt_spec btn_d0 =
	GPIO_DT_SPEC_GET(DT_NODELABEL(user_button), gpios);
static const struct gpio_dt_spec btn_d1 =
	GPIO_DT_SPEC_GET(DT_NODELABEL(d1_button), gpios);
static const struct gpio_dt_spec btn_d2 =
	GPIO_DT_SPEC_GET(DT_NODELABEL(d2_button), gpios);

/* Input subsystem callback — logs ALL events */
static void input_cb(struct input_event *evt, void *user_data)
{
	ARG_UNUSED(user_data);
	LOG_INF("[INPUT] type=%u code=%u value=%d sync=%u",
		evt->type, evt->code, evt->value, evt->sync);
}
INPUT_CALLBACK_DEFINE(NULL, input_cb, NULL);

int main(void)
{
	LOG_INF("=== BUTTON TEST START ===");
	LOG_INF("D0=GPIO%d D1=GPIO%d D2=GPIO%d",
		btn_d0.pin, btn_d1.pin, btn_d2.pin);

	/* Check GPIO readiness */
	LOG_INF("D0 ready: %d", gpio_is_ready_dt(&btn_d0));
	LOG_INF("D1 ready: %d", gpio_is_ready_dt(&btn_d1));
	LOG_INF("D2 ready: %d", gpio_is_ready_dt(&btn_d2));

	/* Configure as inputs (gpio-keys driver already did this,
	 * but let's verify we can read them) */
	int prev_d0 = 0, prev_d1 = 0, prev_d2 = 0;

	LOG_INF("Polling buttons + listening for input events...");
	LOG_INF("Press each button (D0, D1, D2) and check logs.");
	LOG_INF("");

	while (1) {
		int d0 = gpio_pin_get_dt(&btn_d0);
		int d1 = gpio_pin_get_dt(&btn_d1);
		int d2 = gpio_pin_get_dt(&btn_d2);

		/* Log state changes from polling */
		if (d0 != prev_d0) {
			LOG_INF("[POLL] D0 (GPIO%d): %d -> %d",
				btn_d0.pin, prev_d0, d0);
			prev_d0 = d0;
		}
		if (d1 != prev_d1) {
			LOG_INF("[POLL] D1 (GPIO%d): %d -> %d",
				btn_d1.pin, prev_d1, d1);
			prev_d1 = d1;
		}
		if (d2 != prev_d2) {
			LOG_INF("[POLL] D2 (GPIO%d): %d -> %d",
				btn_d2.pin, prev_d2, d2);
			prev_d2 = d2;
		}

		k_msleep(50); /* Poll at 20Hz */
	}

	return 0;
}
```

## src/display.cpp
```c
/*
 * Copyright (c) 2026 Lukasz Ronka
 * SPDX-License-Identifier: Apache-2.0
 */

#include "display.h"

#include <zephyr/device.h>
#include <zephyr/drivers/display.h>
#include <zephyr/drivers/gpio.h>
#include <zephyr/kernel.h>
#include <zephyr/logging/log.h>

LOG_MODULE_REGISTER(display, LOG_LEVEL_INF);

/* Display power control (GPIO7 on Reverse board) - MUST be HIGH before display init */
static const struct gpio_dt_spec display_power =
	GPIO_DT_SPEC_GET_BY_IDX(DT_PATH(i2c_reg), enable_gpios, 0);

/* Backlight control (GPIO45 on Reverse board) - uses LED subsystem alias */
static const struct gpio_dt_spec backlight =
	GPIO_DT_SPEC_GET(DT_ALIAS(backlight), gpios);

/* Bound in display_init(). Kept module-private; LVGL's Zephyr port
 * discovers the chosen display itself, so app code never needs this
 * pointer once init is done. */
static const struct device *display_dev;

/* Tracks whether the display rail + backlight are currently on. Used
 * to make display_sleep / display_resume idempotent. Initialized true
 * by the boot sequence (display_power_init → display_init →
 * backlight_init). */
static bool display_on = false;

int display_power_init(void)
{
	int ret;

	if (!gpio_is_ready_dt(&display_power)) {
		LOG_ERR("Display power GPIO not ready - display will not work!");
		return -ENODEV;
	}

	ret = gpio_pin_configure_dt(&display_power, GPIO_OUTPUT_ACTIVE);
	if (ret < 0) {
		LOG_ERR("Failed to configure display power: %d", ret);
		return ret;
	}

	gpio_pin_set_dt(&display_power, 1);
	LOG_INF("Display power enabled (GPIO%d)", display_power.pin);

	/* Wait for power rail to stabilize */
	k_msleep(10);

	return 0;
}

int backlight_init(void)
{
	int ret;

	if (!gpio_is_ready_dt(&backlight)) {
		LOG_ERR("Backlight GPIO not ready");
		return -ENODEV;
	}

	ret = gpio_pin_configure_dt(&backlight, GPIO_OUTPUT_ACTIVE);
	if (ret < 0) {
		LOG_ERR("Failed to configure backlight: %d", ret);
		return ret;
	}

	gpio_pin_set_dt(&backlight, 1);
	LOG_INF("Backlight enabled (GPIO%d)", backlight.pin);

	display_on = true;
	return 0;
}

void display_sleep(void)
{
	if (!display_on) {
		return;
	}

	/* Backlight off first — kills the visible image instantly.
	 * Dropping GPIO7 (display rail) before would briefly show the
	 * frame buffer fading as the controller loses power. */
	gpio_pin_set_dt(&backlight, 0);
	gpio_pin_set_dt(&display_power, 0);

	display_on = false;
	LOG_INF("Display off");
}

int display_resume(void)
{
	if (display_on) {
		return 0;
	}

	int ret;

	gpio_pin_set_dt(&display_power, 1);
	/* ST7789V needs time for the rail to settle + internal POR. */
	k_msleep(10);

	/* The chip lost state with Vcc — re-issue display_blanking_off
	 * so the controller comes back up in the right mode. The Zephyr
	 * device binding survives, only the chip-side state needs to be
	 * rebuilt. */
	ret = display_blanking_off(display_dev);
	if (ret < 0) {
		LOG_ERR("display_resume: blanking_off failed: %d", ret);
		gpio_pin_set_dt(&display_power, 0);
		return ret;
	}

	gpio_pin_set_dt(&backlight, 1);

	display_on = true;
	LOG_INF("Display on");
	return 0;
}

bool display_is_on(void)
{
	return display_on;
}

int display_init(void)
{
	int ret;

	display_dev = DEVICE_DT_GET(DT_CHOSEN(zephyr_display));

	if (!device_is_ready(display_dev)) {
		LOG_ERR("Display device not ready");
		return -ENODEV;
	}

	LOG_INF("Display device initialized: %s", display_dev->name);

	/* Turn off display blanking - ST7789V may have it on by default */
	ret = display_blanking_off(display_dev);
	if (ret < 0) {
		LOG_ERR("Failed to turn off display blanking: %d", ret);
		return ret;
	}
	LOG_INF("Display blanking disabled");

	return 0;
}
```

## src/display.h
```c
/*
 * Copyright (c) 2026 Lukasz Ronka
 * SPDX-License-Identifier: Apache-2.0
 *
 * Display power, backlight, and ST7789V bring-up.
 *
 * The Reverse TFT board needs GPIO7 driven HIGH before any SPI talk
 * to the display controller, and GPIO45 controls the backlight. PM
 * domain control crashes the SoC on this board, so we toggle both
 * GPIOs by hand.
 */

#ifndef WEATHER_SENSOR_DISPLAY_H_
#define WEATHER_SENSOR_DISPLAY_H_

#include <stdbool.h>

#ifdef __cplusplus
extern "C" {
#endif

/*
 * Boot sequence:
 *   display_power_init()  -- GPIO7 HIGH, then 10 ms settle
 *   display_init()        -- bind to zephyr,display, drop blanking
 *   backlight_init()      -- GPIO45 HIGH (non-fatal if it fails)
 *
 * Each returns 0 on success or a negative errno.
 */
int display_power_init(void);
int display_init(void);
int backlight_init(void);

/*
 * Runtime power gating, for the button-wake/30s-timeout UX:
 *   display_sleep()       -- GPIO45 LOW, then GPIO7 LOW. Backlight
 *                            first so we don't briefly show a fading
 *                            frame while the controller loses power.
 *   display_resume()      -- GPIO7 HIGH, 10 ms settle, re-issue
 *                            display_blanking_off (the chip lost
 *                            state with Vcc), GPIO45 HIGH.
 *
 * Both idempotent. Track is_on internally so calling sleep when
 * already off (or resume when already on) is a no-op.
 *
 * After display_resume() the caller should invalidate the active
 * LVGL screen to force a redraw (the chip's internal frame buffer
 * came back as garbage).
 */
void display_sleep(void);
int display_resume(void);

/* Snapshot of the on/off state. */
bool display_is_on(void);

#ifdef __cplusplus
}
#endif

#endif /* WEATHER_SENSOR_DISPLAY_H_ */
```
